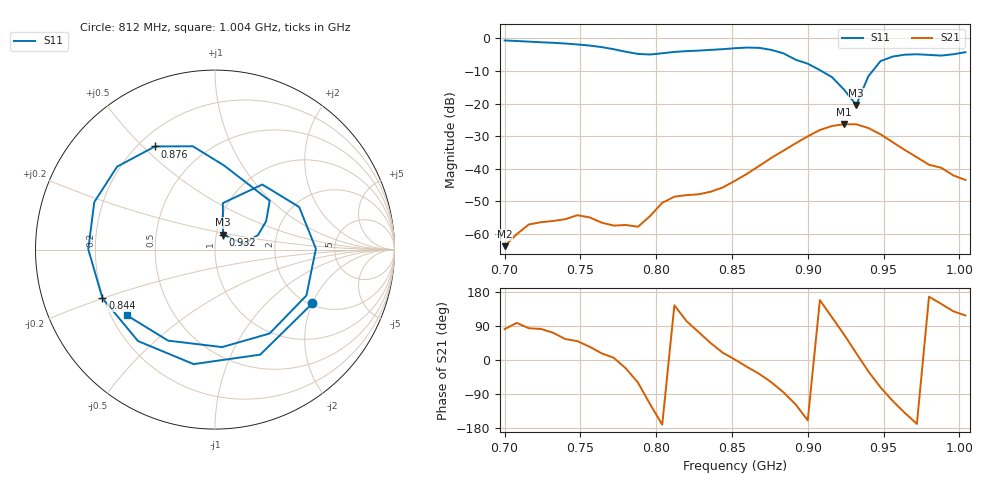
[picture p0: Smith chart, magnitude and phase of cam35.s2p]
# Hz S RI R 50
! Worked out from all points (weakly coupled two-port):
!   39 points, 700 MHz to 1.004 GHz, reference 50 ohm
!   highest |S21| = -26.34 dB at 924 MHz (marker M1); lowest = -63.8 dB at 700 MHz (marker M2)
!   lowest |S11| = -20.4 dB at 932 MHz (marker M3), VSWR 1.21, Z = 53.9 + j9.12 ohm
!   |S11| at or under -10 dB: 909 MHz to 942.8 MHz (33.82 MHz wide, 3.65 % of centre)
!   S12 and S22 are empty: the file has one direction only
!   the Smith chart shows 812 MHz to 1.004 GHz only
!   S11 on the Smith chart (normalised r, x): 812 MHz: 2.06, -2.00; 844 MHz: 0.20, -0.20; 876 MHz: 0.26, +0.54; 932 MHz: 1.08, +0.18; 1.004 GHz: 0.26, -0.31
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7e8  0.763 0.5299  9.64e-05 0.000642  0 0  0 0
7.24e8  0.8306 -0.2639  0.000212 0.0015  0 0  0 0
7.4e8  0.4473 -0.7034  0.000956 0.00138  0 0  0 0
7.56e8  -0.1951 -0.7512  0.00147 0.00103  0 0  0 0
7.72e8  -0.6537 -0.1914  0.00133 0.000135  0 0  0 0
7.8e8  -0.5775 0.2346  0.00127 -0.000517  0 0  0 0
7.88e8  -0.2236 0.5319  0.000652 -0.00111  0 0  0 0
7.96e8  0.2598 0.5024  -0.000851 -0.00168  0 0  0 0
8.04e8  0.5719 0.1457  -0.00297 -0.000486  0 0  0 0
8.12e8  0.5422 -0.3002  -0.00303 0.00217  0 0  0 0
8.28e8  -0.1193 -0.638  0.00114 0.00389  0 0  0 0
8.44e8  -0.6274 -0.2701  0.0049 0.00168  0 0  0 0
8.52e8  -0.7061 0.002  0.00653 0.00012  0 0  0 0
8.76e8  -0.3346 0.5746  0.0076 -0.0126  0 0  0 0
9e8  0.305 0.2721  -0.0294 -0.0111  0 0  0 0
9.08e8  0.2848 0.1581  -0.0364 0.0148  0 0  0 0
9.24e8  0.1601 0.0308  0.0189 0.0443  0 0  0 0
9.32e8  0.0449 0.0838  0.0458 0.0148  0 0  0 0
9.4e8  0.0438 0.259  0.0363 -0.0213  0 0  0 0
9.56e8  0.4689 0.2374  -0.00785 -0.0243  0 0  0 0
9.8e8  0.3041 -0.4675  -0.0112 0.0026  0 0  0 0
1.004e9  -0.4926 -0.3652  -0.00311 0.00597  0 0  0 0
